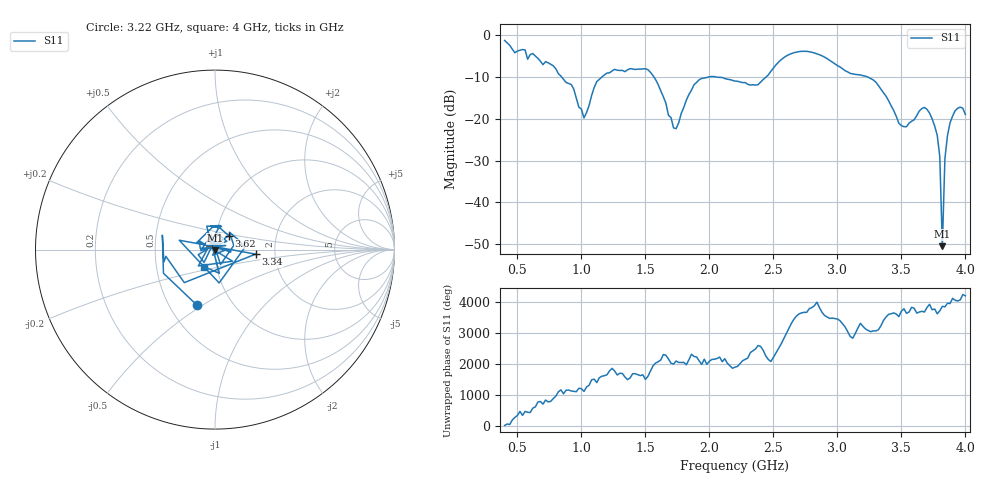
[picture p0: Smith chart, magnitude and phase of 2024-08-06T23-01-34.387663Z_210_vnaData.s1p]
!Created with skrf (http://scikit-rf.org).
# Hz S RI R 50.0
!freq ReS11 ImS11
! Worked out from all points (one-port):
!   181 points, 400 MHz to 4 GHz, reference 50 ohm
!   lowest |S11| = -50.5 dB at 3.82 GHz (marker M1), VSWR 1.01, Z = 49.9 - j0.292 ohm
!   |S11| at or under -10 dB: 1.568 GHz to 1.989 GHz (421.2 MHz wide, 23.7 % of centre); 2.059 GHz to 2.441 GHz (382.4 MHz wide, 17 % of centre); 3.239 GHz to end of sweep (the widest 3 of 4)
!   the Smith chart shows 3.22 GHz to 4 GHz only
!   S11 on the Smith chart (normalised r, x): 3.22 GHz: 0.68, -0.47; 3.34 GHz: 1.58, -0.08; 3.62 GHz: 1.15, +0.18; 4 GHz: 0.87, -0.17
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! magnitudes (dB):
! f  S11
! 400 MHz  -1.2
! 860 MHz  -10.5
! 940 MHz  -12.8
! 1.02 GHz  -19.8
! 1.12 GHz  -11.1
! 1.3 GHz  -8.4
! 1.52 GHz  -8.2
! 1.6 GHz  -11.8
! 1.72 GHz  -22.2
! 1.76 GHz  -20.9
! 1.92 GHz  -10.6
! 2.2 GHz  -10.9
! 2.38 GHz  -11.8
! 2.66 GHz  -4.1
! 3.1 GHz  -9.1
! 3.22 GHz  -9.8
! 3.34 GHz  -12.9
! 3.48 GHz  -21.0
! 3.56 GHz  -21.0
! 3.62 GHz  -19.2
! 3.7 GHz  -17.7
! 3.78 GHz  -23.9
! 3.8 GHz  -29.1
! 3.82 GHz  -50.5
! 3.84 GHz  -29.5
! 3.86 GHz  -24.0
! 3.92 GHz  -18.0
! 4 GHz  -18.9
